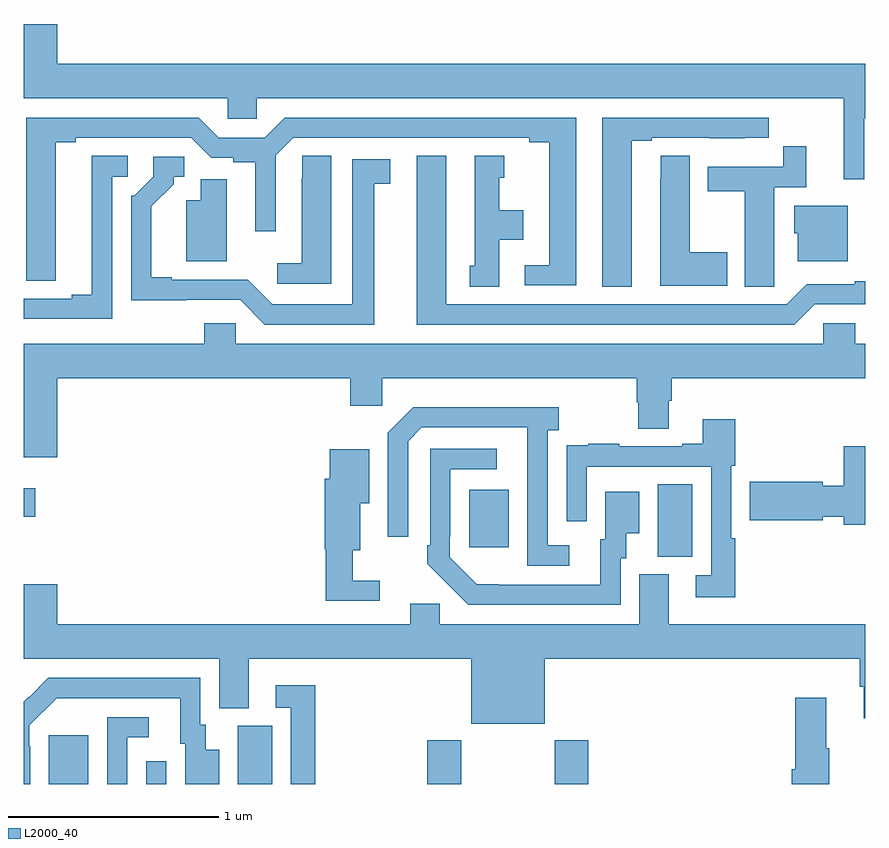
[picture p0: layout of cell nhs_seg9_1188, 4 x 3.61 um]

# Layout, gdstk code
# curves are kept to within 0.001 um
import gdstk
lib = gdstk.Library(unit=1e-6, precision=1e-09)
def R(c, l, rs):  # rectangles x0, y0, x1, y1
    for r in rs: c.add(gdstk.rectangle(r[:2], r[2:], *l))
def P(c, l, *ps):  # polygons
    for p in ps: c.add(gdstk.Polygon(p, *l))
L2000_40 = (2000, 40)

nhs_seg9_1188 = lib.new_cell('nhs_seg9_1188')
R(nhs_seg9_1188, L2000_40, [(177.119,1186.5,177.307,1186.732), (177.582,1186.5,177.678,1186.609), (178.016,1186.5,178.18,1186.776), (178.919,1186.5,179.079,1186.708), (179.524,1186.5,179.684,1186.708), (180.014,1187.581,180.178,1187.924), (179.117,1187.625,179.305,1187.899), (177,1187.771,177.055,1187.905)])
P(nhs_seg9_1188, L2000_40, [(180.996,1189.664),(181,1189.664),(181,1189.924),(177.16,1189.924),(177.16,1190.113),(177,1190.113),(177,1189.76),(177.969,1189.76),(177.969,1189.662),(178.107,1189.662),(178.107,1189.76),(180.899,1189.76),(180.899,1189.374),(180.996,1189.374)],
  [(179.626,1189.668),(178.241,1189.668),(178.145,1189.572),(177.927,1189.572),(177.831,1189.668),(177.011,1189.668),(177.012,1188.892),(177.151,1188.892),(177.151,1189.552),(177.247,1189.552),(177.247,1189.572),(177.795,1189.572),(177.891,1189.476),(177.996,1189.476),(177.996,1189.456),(178.1,1189.456),(178.1,1189.128),(178.197,1189.128),(178.197,1189.488),(178.281,1189.572),(179.402,1189.572),(179.402,1189.552),(179.498,1189.552),(179.498,1188.966),(179.382,1188.966),(179.382,1188.87),(179.626,1188.87)],
  [(179.89,1189.557),(179.986,1189.557),(179.986,1189.572),(180.262,1189.572),(180.262,1189.571),(180.428,1189.571),(180.428,1189.572),(180.541,1189.572),(180.541,1189.668),(179.75,1189.668),(179.75,1188.865),(179.89,1188.865)],
  [(180.567,1188.976),(180.568,1188.976),(180.568,1189.338),(180.719,1189.338),(180.719,1189.531),(180.61,1189.531),(180.61,1189.434),(180.251,1189.434),(180.251,1189.318),(180.428,1189.318),(180.428,1188.865),(180.567,1188.865)],
  [(177.42,1189.386),(177.493,1189.386),(177.493,1189.487),(177.323,1189.487),(177.323,1188.827),(177.227,1188.827),(177.227,1188.807),(177,1188.807),(177,1188.711),(177.42,1188.711)],
  [(180.343,1189.029),(180.166,1189.029),(180.166,1189.487),(180.027,1189.487),(180.027,1189.379),(180.026,1189.379),(180.026,1188.869),(180.343,1188.869)],
  [(178.462,1189.487),(178.323,1189.487),(178.323,1189.379),(178.322,1189.379),(178.322,1188.976),(178.206,1188.976),(178.206,1188.879),(178.462,1188.879)],
  [(180.759,1188.78),(181,1188.78),(181,1188.889),(180.95,1188.889),(180.95,1188.876),(180.723,1188.876),(180.627,1188.78),(179.008,1188.78),(179.008,1189.486),(178.868,1189.486),(178.868,1188.684),(180.663,1188.684)],
  [(179.26,1189.088),(179.374,1189.088),(179.374,1189.228),(179.26,1189.228),(179.26,1189.383),(179.284,1189.383),(179.284,1189.486),(179.144,1189.486),(179.144,1188.963),(179.12,1188.963),(179.12,1188.865),(179.26,1188.865)],
  [(178.666,1189.354),(178.741,1189.354),(178.741,1189.47),(178.562,1189.47),(178.562,1188.78),(178.182,1188.78),(178.065,1188.897),(177.703,1188.897),(177.703,1188.91),(177.607,1188.91),(177.607,1189.246),(177.712,1189.351),(177.712,1189.386),(177.762,1189.386),(177.762,1189.482),(177.615,1189.482),(177.615,1189.386),(177.525,1189.296),(177.51,1189.296),(177.51,1188.8),(178.029,1188.801),(178.146,1188.684),(178.666,1188.684)],
  [(177.964,1189.374),(177.842,1189.374),(177.842,1189.276),(177.773,1189.276),(177.773,1188.986),(177.964,1188.986)],
  [(180.916,1189.249),(180.662,1189.249),(180.662,1189.119),(180.68,1189.119),(180.68,1188.986),(180.916,1188.986)],
  [(177.16,1188.428),(178.553,1188.428),(178.553,1188.297),(178.704,1188.297),(178.704,1188.428),(179.915,1188.428),(179.915,1188.315),(179.92,1188.315),(179.92,1188.19),(180.067,1188.19),(180.067,1188.322),(180.08,1188.322),(180.08,1188.428),(181,1188.428),(181,1188.592),(180.953,1188.592),(180.953,1188.69),(180.801,1188.69),(180.801,1188.592),(178.008,1188.592),(178.008,1188.69),(177.857,1188.69),(177.857,1188.592),(177,1188.592),(177,1188.054),(177.16,1188.054)],
  [(179.593,1187.634),(179.49,1187.634),(179.49,1188.182),(179.542,1188.182),(179.542,1188.292),(178.852,1188.292),(178.731,1188.171),(178.731,1187.676),(178.827,1187.676),(178.827,1188.129),(178.893,1188.195),(179.393,1188.195),(179.394,1187.538),(179.593,1187.538)],
  [(180.383,1187.669),(180.363,1187.669),(180.363,1188.012),(180.383,1188.012),(180.383,1188.235),(180.227,1188.235),(180.227,1188.118),(180.131,1188.118),(180.131,1188.105),(179.831,1188.105),(179.831,1188.118),(179.683,1188.118),(179.683,1188.111),(179.581,1188.111),(179.581,1188.002),(179.58,1188.002),(179.58,1187.748),(179.676,1187.748),(179.676,1188.009),(180.267,1188.009),(180.267,1187.493),(180.195,1187.493),(180.195,1187.388),(180.383,1187.388)],
  [(181,1188.106),(180.899,1188.106),(180.899,1187.918),(180.798,1187.918),(180.798,1187.936),(180.45,1187.936),(180.45,1187.753),(180.798,1187.753),(180.798,1187.771),(180.899,1187.771),(180.899,1187.732),(181,1187.732)],
  [(179.838,1187.574),(179.863,1187.574),(179.863,1187.693),(179.926,1187.693),(179.926,1187.89),(179.765,1187.89),(179.765,1187.664),(179.741,1187.664),(179.741,1187.448),(179.154,1187.449),(179.025,1187.577),(179.025,1187.677),(179.028,1187.677),(179.028,1187.997),(179.248,1187.997),(179.248,1188.093),(178.932,1188.093),(178.932,1187.635),(178.917,1187.635),(178.917,1187.547),(179.114,1187.352),(179.838,1187.352)],
  [(178.693,1187.467),(178.564,1187.467),(178.564,1187.612),(178.6,1187.612),(178.6,1187.834),(178.642,1187.834),(178.642,1188.091),(178.454,1188.091),(178.454,1187.952),(178.43,1187.952),(178.43,1187.616),(178.435,1187.616),(178.435,1187.37),(178.693,1187.37)],
  [(179.476,1187.096),(180.973,1187.096),(180.973,1186.962),(180.992,1186.962),(180.992,1186.812),(181,1186.812),(181,1187.26),(180.067,1187.26),(180.067,1187.496),(179.927,1187.496),(179.927,1187.26),(178.977,1187.26),(178.977,1187.358),(178.838,1187.358),(178.838,1187.26),(177.16,1187.26),(177.16,1187.449),(177,1187.449),(177,1187.096),(177.929,1187.096),(177.929,1186.861),(178.069,1186.861),(178.069,1187.096),(179.126,1187.096),(179.126,1186.787),(179.476,1186.787)],
  [(177.03,1186.679),(177.027,1186.679),(177.027,1186.779),(177.156,1186.908),(177.743,1186.908),(177.743,1186.692),(177.767,1186.692),(177.767,1186.5),(177.928,1186.5),(177.928,1186.663),(177.865,1186.663),(177.865,1186.782),(177.84,1186.782),(177.84,1187.004),(177.116,1187.004),(177.025,1186.913),(177.024,1186.914),(177,1186.89),(177,1186.5),(177.03,1186.5)],
  [(178.385,1186.969),(178.197,1186.969),(178.197,1186.863),(178.269,1186.863),(178.269,1186.5),(178.385,1186.5)],
  [(180.828,1186.669),(180.814,1186.669),(180.814,1186.909),(180.668,1186.909),(180.668,1186.569),(180.65,1186.569),(180.65,1186.5),(180.828,1186.5)],
  [(177.492,1186.722),(177.595,1186.722),(177.595,1186.818),(177.396,1186.818),(177.396,1186.5),(177.492,1186.5)])

lib.write_gds('nhs_seg9_1188.gds')
